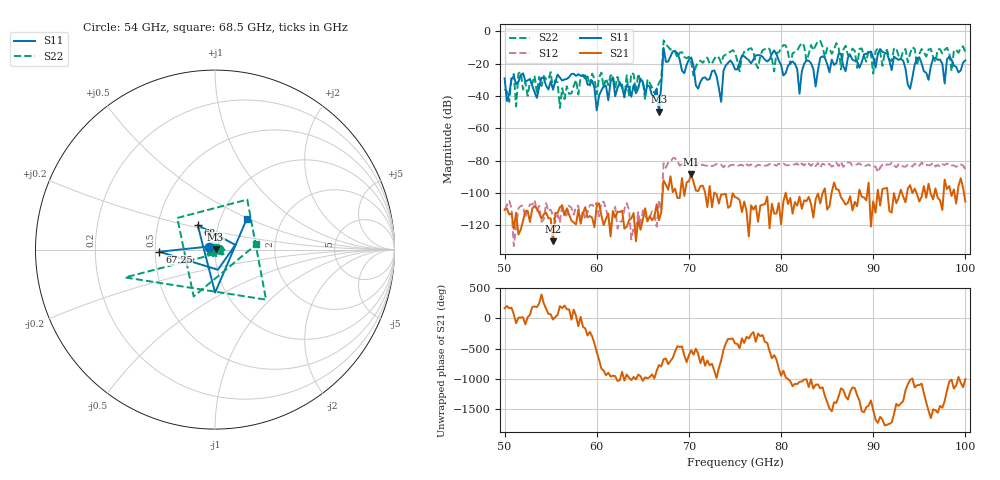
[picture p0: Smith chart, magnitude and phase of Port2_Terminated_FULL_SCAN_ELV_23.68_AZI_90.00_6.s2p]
! 11/25/2026 1:41:39 PM
! C:\ANRITSUVNA\TEMP\TEMP.S2P
! CHANNEL.1
! TR.MEASUREMENT
! RAW.DATA
# HZ S RI R 50.0
! FREQ.HZ  S11RE  S11IM  S21RE  S21IM  S12RE  S12IM  S22RE  S22IM
!; PortSelection: Port_12
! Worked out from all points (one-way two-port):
!   201 points, 50 GHz to 100 GHz, reference 50 ohm
!   highest |S21| = -88.62 dB at 70.25 GHz (marker M1); lowest = -130.0 dB at 55.25 GHz (marker M2)
!   lowest |S11| = -49.7 dB at 66.75 GHz (marker M3), VSWR 1.01, Z = 50.3 + j0.0711 ohm
!   |S11| at or under -10 dB: start of sweep to end of sweep
!   |S22| runs from -47.5 to -5.6 dB; largest |S21 - S12| = 0.00014
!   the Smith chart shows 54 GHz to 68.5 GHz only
!   S11 on the Smith chart (normalised r, x): 54 GHz: 0.93, +0.03; 67.25 GHz: 0.53, -0.01; 68 GHz: 0.80, +0.22; 68.5 GHz: 1.33, +0.49
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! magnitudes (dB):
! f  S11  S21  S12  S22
! 50 GHz  -29.1  -110.6  -110.6  -35.6
! 54 GHz  -28.7  -116.0  -118.0  -33.8
! 55.25 GHz  -35.5  -130.0  -114.0  -36.2
! 58.5 GHz  -27.7  -112.6  -110.7  -26.9
! 60 GHz  -48.9  -107.7  -106.1  -38.9
! 61.75 GHz  -28.4  -111.2  -114.3  -27.6
! 66.75 GHz  -49.7  -116.9  -104.3  -31.9
! 67.25 GHz  -10.2  -92.3  -81.6  -5.6
! 68 GHz  -15.5  -89.7  -80.9  -11.2
! 68.5 GHz  -12.1  -97.4  -78.5  -12.7
! 70.25 GHz  -16.1  -88.6  -79.4  -19.2
! 73.5 GHz  -43.6  -101.0  -82.5  -19.6
! 73.75 GHz  -24.3  -100.9  -84.2  -15.3
! 75 GHz  -23.5  -102.6  -82.9  -13.0
! 79.25 GHz  -11.8  -112.8  -82.6  -24.8
! 82 GHz  -38.6  -102.3  -83.4  -9.2
! 83.5 GHz  -23.3  -115.3  -81.7  -11.7
! 91.75 GHz  -18.1  -111.2  -82.5  -17.5
! 94 GHz  -35.6  -95.3  -83.1  -13.7
! 94.75 GHz  -16.5  -100.7  -83.5  -21.1
! 97.75 GHz  -32.2  -91.7  -82.7  -11.4
! 100 GHz  -17.9  -105.4  -85.4  -12.9
